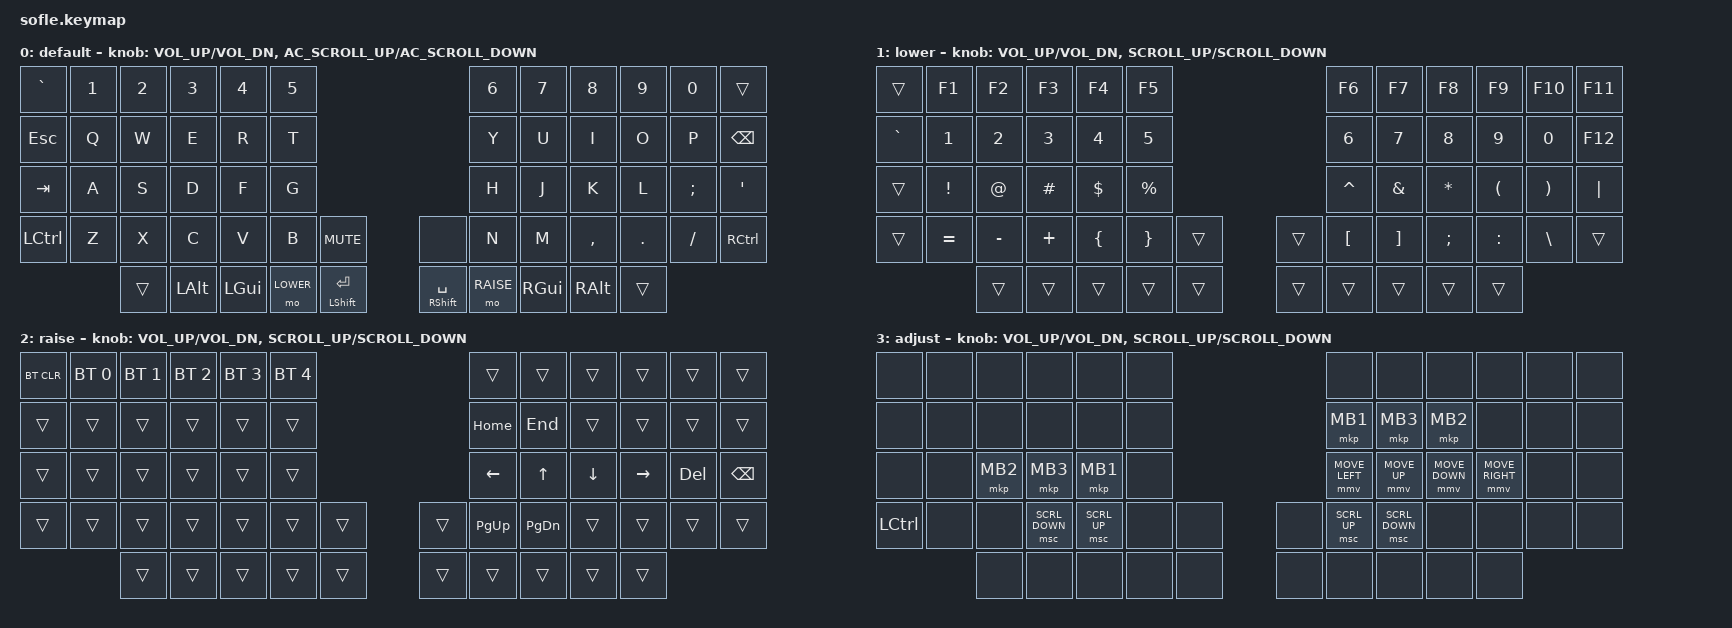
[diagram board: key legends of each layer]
/*
 * Copyright (c) 2020 The ZMK Contributors
 *
 * SPDX-License-Identifier: MIT
 */

#define ZMK_POINTING_DEFAULT_MOVE_VAL 1000  // default: 600
#define ZMK_POINTING_DEFAULT_SCRL_VAL 10    // default: 10

#include <behaviors.dtsi>
#include <dt-bindings/zmk/bt.h>
#include <dt-bindings/zmk/keys.h>
#include <dt-bindings/zmk/pointing.h>

#define BASE 0
#define LOWER 1
#define RAISE 2
#define ADJUST 3

/ {
    // Activate ADJUST layer by pressing raise and lower

    conditional_layers {
        compatible = "zmk,conditional-layers";

        adjust_layer {
            if-layers = <LOWER RAISE>;
            then-layer = <ADJUST>;
        };
    };

    keymap {
        compatible = "zmk,keymap";

        default_layer {
            display-name = "default";

            // ------------------------------------------------------------------------------------------------------------
            // |   `   |  1  |  2  |  3   |  4   |  5   |                   |  6   |  7    |  8    |  9   |   0   |       |
            // |  ESC  |  Q  |  W  |  E   |  R   |  T   |                   |  Y   |  U    |  I    |  O   |   P   | BKSPC |
            // |  TAB  |  A  |  S  |  D   |  F   |  G   |                   |  H   |  J    |  K    |  L   |   ;   |   '   |
            // | SHIFT |  Z  |  X  |  C   |  V   |  B   |  MUTE  |  |       |  N   |  M    |  ,    |  .   |   /   | SHIFT |
            //               | GUI | ALT  | CTRL | LOWER|  ENTER |  | SPACE | RAISE| CTRL  | ALT   | GUI  |

            bindings = <
&kp GRAVE  &kp N1  &kp N2  &kp N3        &kp N4    &kp N5                                                    &kp N6     &kp N7    &kp N8     &kp N9   &kp N0    &trans
&kp ESC    &kp Q   &kp W   &kp E         &kp R     &kp T                                                     &kp Y      &kp U     &kp I      &kp O    &kp P     &kp BSPC
&kp TAB    &kp A   &kp S   &kp D         &kp F     &kp G                                                     &kp H      &kp J     &kp K      &kp L    &kp SEMI  &kp SQT
&kp LCTRL  &kp Z   &kp X   &kp C         &kp V     &kp B      &kp C_MUTE              &none                  &kp N      &kp M     &kp COMMA  &kp DOT  &kp FSLH  &kp RCTRL
                   &trans  &kp LEFT_ALT  &kp LGUI  &mo LOWER  &mt LEFT_SHIFT ENTER    &mt RIGHT_SHIFT SPACE  &mo RAISE  &kp RGUI  &kp RALT   &trans
            >;

            sensor-bindings =
                <&inc_dec_kp C_VOL_UP C_VOL_DN>,
                <&inc_dec_kp C_AC_SCROLL_UP C_AC_SCROLL_DOWN>;
        };

        lower_layer {
            display-name = "lower";

            // TODO: Some binds are waiting for shifted keycode support.
            // ------------------------------------------------------------------------------------------------------------
            // |       |  F1 |  F2 |  F3  |  F4  |  F5  |                   |  F6  |  F7   |  F8   |  F9  |  F10  |  F11  |
            // |   `   |  1  |  2  |  3   |  4   |  5   |                   |  6   |  7    |  8    |  9   |   0   |  F12  |
            // |       |  !  |  @  |  #   |  $   |  %   |                   |  ^   |  &    |  *    |  (   |   )   |   |   |
            // |       |  =  |  -  |  +   |  {   |  }   |        |  |       |  [   |  ]    |  ;    |  :   |   \   |       |
            //               |     |      |      |      |        |  |       |      |       |       |      |

            bindings = <
&trans     &kp F1     &kp F2     &kp F3    &kp F4    &kp F5                       &kp F6     &kp F7    &kp F8     &kp F9     &kp F10   &kp F11
&kp GRAVE  &kp N1     &kp N2     &kp N3    &kp N4    &kp N5                       &kp N6     &kp N7    &kp N8     &kp N9     &kp N0    &kp F12
&trans     &kp EXCL   &kp AT     &kp HASH  &kp DLLR  &kp PRCNT                    &kp CARET  &kp AMPS  &kp ASTRK  &kp LPAR   &kp RPAR  &kp PIPE
&trans     &kp EQUAL  &kp MINUS  &kp PLUS  &kp LBRC  &kp RBRC   &trans    &trans  &kp LBKT   &kp RBKT  &kp SEMI   &kp COLON  &kp BSLH  &trans
                      &trans     &trans    &trans    &trans     &trans    &trans  &trans     &trans    &trans     &trans
            >;

            sensor-bindings =
                <&inc_dec_kp C_VOL_UP C_VOL_DN>,
                <&inc_dec_kp K_SCROLL_UP K_SCROLL_DOWN>;
        };

        raise_layer {
            display-name = "raise";

            // ------------------------------------------------------------------------------------------------------------
            // | BTCLR | BT1  | BT2  |  BT3  |  BT4  |  BT5 |                |      |      |       |      |       |       |
            // |       | INS  | PSCR | GUI   |       |      |                | PGUP |      |   ^   |      |       |       |
            // |       | ALT  | CTRL | SHIFT |       | CAPS |                | PGDN |   <- |   v   |  ->  |  DEL  | BKSPC |
            // |       | UNDO | CUT  | COPY  | PASTE |      |      |  |      |      |      |       |      |       |       |
            //                |      |       |       |      |      |  |      |      |      |       |      |

            bindings = <
&bt BT_CLR  &bt BT_SEL 0  &bt BT_SEL 1  &bt BT_SEL 2  &bt BT_SEL 3  &bt BT_SEL 4                    &trans       &trans         &trans    &trans     &trans   &trans
&trans      &trans        &trans        &trans        &trans        &trans                          &kp HOME     &kp END        &trans    &trans     &trans   &trans
&trans      &trans        &trans        &trans        &trans        &trans                          &kp LEFT     &kp UP         &kp DOWN  &kp RIGHT  &kp DEL  &kp BSPC
&trans      &trans        &trans        &trans        &trans        &trans        &trans    &trans  &kp PAGE_UP  &kp PAGE_DOWN  &trans    &trans     &trans   &trans
                          &trans        &trans        &trans        &trans        &trans    &trans  &trans       &trans         &trans    &trans
            >;

            sensor-bindings =
                <&inc_dec_kp C_VOL_UP C_VOL_DN>,
                <&inc_dec_kp K_SCROLL_UP K_SCROLL_DOWN>;
        };

        adjust_layer {
            // ----------------------------------------------------------------------------------------------------------------------------
            // | BTCLR  |  BT1    |  BT2    |   BT3   |   BT4   |   BT5   |                  |      |      |       |      |       |       |
            // | EXTPWR | RGB_HUD | RGB_HUI | RGB_SAD | RGB_SAI | RGB_EFF |                  |      |      |       |      |       |       |
            // |        | RGB_BRD | RGB_BRI |         |         |         |                  |      |      |       |      |       |       |
            // |        |         |         |         |         |         | RGB_TOG | |      |      |      |       |      |       |       |
            //                    |         |         |         |         |         | |      |      |      |       |      |

            display-name = "adjust";
            bindings = <
&none      &none  &none     &none           &none         &none                  &none           &none           &none           &none            &none  &none
&none      &none  &none     &none           &none         &none                  &mkp MB1        &mkp MB3        &mkp MB2        &none            &none  &none
&none      &none  &mkp MB2  &mkp MB3        &mkp MB1      &none                  &mmv MOVE_LEFT  &mmv MOVE_UP    &mmv MOVE_DOWN  &mmv MOVE_RIGHT  &none  &none
&kp LCTRL  &none  &none     &msc SCRL_DOWN  &msc SCRL_UP  &none  &none    &none  &msc SCRL_UP    &msc SCRL_DOWN  &none           &none            &none  &none
                  &none     &none           &none         &none  &none    &none  &none           &none           &none           &none
            >;

            sensor-bindings =
                <&inc_dec_kp C_VOL_UP C_VOL_DN>,
                <&inc_dec_kp K_SCROLL_UP K_SCROLL_DOWN>;
        };
    };
};
